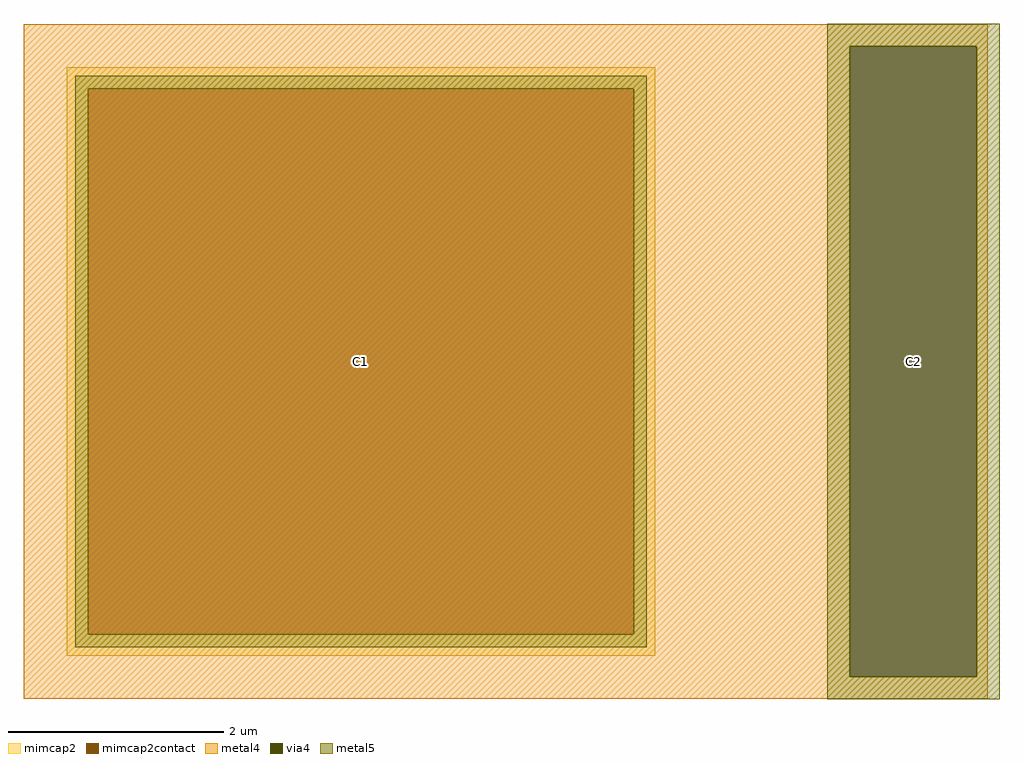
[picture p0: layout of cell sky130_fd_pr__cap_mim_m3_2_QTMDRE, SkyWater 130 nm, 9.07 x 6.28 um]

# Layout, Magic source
magic
tech sky130A
magscale 1 2
<< metal4 >>
rect -896 586 896 627
rect -896 -586 640 586
rect 876 -586 896 586
rect -896 -627 896 -586
<< via4 >>
rect 640 -586 876 586
<< mimcap2 >>
rect -816 507 278 547
rect -816 -507 -776 507
rect 238 -507 278 507
rect -816 -547 278 -507
<< mimcap2contact >>
rect -776 -507 238 507
<< metal5 >>
rect 598 586 918 628
rect -800 507 262 531
rect -800 -507 -776 507
rect 238 -507 262 507
rect -800 -531 262 -507
rect 598 -586 640 586
rect 876 -586 918 586
rect 598 -628 918 -586
<< labels >>
rlabel via4 758 0 758 0 0 C2
port 3 nsew
rlabel mimcap2contact -269 0 -269 0 0 C1
port 4 nsew
<< properties >>
string FIXED_BBOX -896 -627 358 627
string gencell sky130_fd_pr__cap_mim_m3_2
string library sky130
string parameters w 5.47 l 5.47 val 63.998 carea 2.00 cperi 0.19 class capacitor nx 1 ny 1 dummy 0 square 0 lmin 2.00 wmin 2.00 lmax 30.0 wmax 30.0 dc 0 bconnect 1 tconnect 1 ccov 100 doports 1
<< end >>
